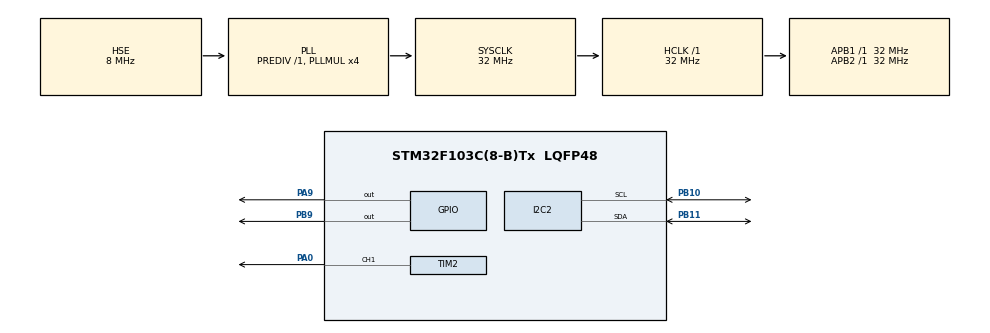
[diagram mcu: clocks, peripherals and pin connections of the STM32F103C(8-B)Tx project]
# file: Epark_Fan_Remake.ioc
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Mcu.Family=STM32F1
Mcu.Name=STM32F103C(8-B)Tx
Mcu.Package=LQFP48
NVIC.PriorityGroup=NVIC_PRIORITYGROUP_4
NVIC.TIM2_IRQn=true\:0\:0\:false\:false\:true\:true\:true\:true
PA0-WKUP.Signal=S_TIM2_CH1_ETR
PA13.Mode=Serial_Wire
PA13.Signal=SYS_JTMS-SWDIO
PA14.Mode=Serial_Wire
PA14.Signal=SYS_JTCK-SWCLK
PA9.Signal=GPIO_Output
PB10.Mode=I2C
PB10.Signal=I2C2_SCL
PB11.Mode=I2C
PB11.Signal=I2C2_SDA
PB9.Signal=GPIO_Output
PC14-OSC32_IN.Mode=LSE-External-Oscillator
PC14-OSC32_IN.Signal=RCC_OSC32_IN
PC15-OSC32_OUT.Mode=LSE-External-Oscillator
PC15-OSC32_OUT.Signal=RCC_OSC32_OUT
PD0-OSC_IN.Mode=HSE-External-Oscillator
PD0-OSC_IN.Signal=RCC_OSC_IN
PD1-OSC_OUT.Mode=HSE-External-Oscillator
PD1-OSC_OUT.Signal=RCC_OSC_OUT
ProjectManager.HeapSize=0x200
ProjectManager.StackSize=0x400
ProjectManager.TargetToolchain=MDK-ARM V5.32
RCC.AHBFreq_Value=32000000
RCC.APB1Freq_Value=32000000
RCC.APB1TimFreq_Value=32000000
RCC.APB2Freq_Value=32000000
RCC.APB2TimFreq_Value=32000000
RCC.HCLKFreq_Value=32000000
RCC.PLLMUL=RCC_PLL_MUL4
RCC.PLLSourceVirtual=RCC_PLLSOURCE_HSE
RCC.RTCClockSelection=RCC_RTCCLKSOURCE_LSE
RCC.SYSCLKFreq_VALUE=32000000
RCC.SYSCLKSource=RCC_SYSCLKSOURCE_PLLCLK
RCC.USBFreq_Value=32000000
RTC.Date=4
RTC.Hours=23
RTC.Minutes=38
RTC.Month=RTC_MONTH_APRIL
RTC.Year=23
SH.S_TIM2_CH1_ETR.0=TIM2_CH1,PWM Generation1 CH1
TIM2.Channel-PWM\ Generation1\ CH1=TIM_CHANNEL_1
TIM2.Period=256
TIM2.Prescaler=32-1
VP_RTC_No_RTC_Output.Mode=RTC_OUT_NO
VP_RTC_VS_RTC_Activate.Mode=RTC_Enabled
VP_RTC_VS_RTC_Calendar.Mode=RTC_Calendar
VP_TIM2_VS_ClockSourceINT.Mode=Internal
board=custom

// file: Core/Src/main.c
/* USER CODE BEGIN Header */
/**
  ******************************************************************************
  * @file           : main.c
  * @brief          : Main program body
  ******************************************************************************
  * @attention
  *
  * Copyright (c) 2023 STMicroelectronics.
  * All rights reserved.
  *
  * This software is licensed under terms that can be found in the LICENSE file
  * in the root directory of this software component.
  * If no LICENSE file comes with this software, it is provided AS-IS.
  *
  ******************************************************************************
  */
/* USER CODE END Header */
#include "main.h"
#include "i2c.h"
#include "rtc.h"
#include "tim.h"
#include "gpio.h"

/* USER CODE BEGIN Includes */
#include "oled.h"
#include "DHT11.h"
#include "gif.h"
/* USER CODE END Includes */

/* USER CODE BEGIN PM */
RTC_DateTypeDef GetData;  //»񈡈Նڽṹ�?

RTC_TimeTypeDef GetTime;   //»񈡊±¼佡¹¹�?
/* USER CODE END PM */

void SystemClock_Config(void);

/* USER CODE BEGIN 0 */
void RTC_display()				//RTCʱ¼䏔ʾº¯�?
{
	  /* Get the RTC current Time */
	  HAL_RTC_GetTime(&hrtc, &GetTime, RTC_FORMAT_BIN);
    /* Get the RTC current Date */
    HAL_RTC_GetDate(&hrtc, &GetData, RTC_FORMAT_BIN);

		/* Display date Format : yy/mm/dd */
		OLED_ShowNum(0,0,2000+GetData.Year,4,16);			//Ī
		OLED_ShowStr(35,30,".",2);
		OLED_ShowNum(45,0,GetData.Month,2,16);				//Ԃ
		OLED_ShowStr(60,30,".",2);
		OLED_ShowNum(70,0,GetData.Date,2,16);					//ȕ

    /* Display time Format : hh:mm:ss */
		OLED_ShowNum(0,2,GetTime.Hours,2,16);					//ʱ
		OLED_ShowStr(20,2,":",2);
		OLED_ShowNum(30,2,GetTime.Minutes,2,16);			//·֍
		OLED_ShowStr(47,2,":",2);
		OLED_ShowNum(58,2,GetTime.Seconds,2,16);			//ë
}
/* USER CODE END 0 */

int main(void)
{
  /* USER CODE BEGIN 1 */
	OLED_ShowStr(81,0,"OctoFan!",1);
	HAL_TIM_PWM_Start(&htim2, TIM_CHANNEL_1);
  __HAL_TIM_SetCompare(&htim2, TIM_CHANNEL_1, 128);
  /* USER CODE END 1 */

  /* MCU Configuration--------------------------------------------------------*/

  /* Reset of all peripherals, Initializes the Flash interface and the Systick. */
  HAL_Init();

  /* Configure the system clock */
  SystemClock_Config();

  /* Initialize all configured peripherals */
  MX_GPIO_Init();
  MX_I2C2_Init();
  MX_RTC_Init();
  MX_TIM2_Init();
  /* USER CODE BEGIN 2 */
	OLED_Init();
	OLED_CLS();

	HAL_Delay(1000);
  /* USER CODE END 2 */

  /* Infinite loop */
  while (1)
  {

    /* USER CODE BEGIN 3 */

		//RTC_display();
		OLED_ShowStr(81,0,"OctoFan!",1);
		DHT11();
		//OLED_DrawGIF(75,2,127,8,36,370,BMP2);			//̫¿Ոˡª¡ªϔʾ¶¯̬ͼƬ(±ʕߍµÀÁÁˣ¬ȡģʵԚ̫·³Áˣ¬ȧ¹û֮λӐźÁ¿ȡģµĈ󟧫α±ظ�?)
		OLED_DrawGIF(75,1,127,7,2,370,BMP3);
		//OLED_DrawBMP(76,2,128,7,BMP4);
  }
  /* USER CODE END 3 */
}

void SystemClock_Config(void)
{
  RCC_OscInitTypeDef RCC_OscInitStruct = {0};
  RCC_ClkInitTypeDef RCC_ClkInitStruct = {0};
  RCC_PeriphCLKInitTypeDef PeriphClkInit = {0};

  /** Initializes the RCC Oscillators according to the specified parameters
  * in the RCC_OscInitTypeDef structure.
  */
  RCC_OscInitStruct.OscillatorType = RCC_OSCILLATORTYPE_HSE|RCC_OSCILLATORTYPE_LSE;
  RCC_OscInitStruct.HSEState = RCC_HSE_ON;
  RCC_OscInitStruct.HSEPredivValue = RCC_HSE_PREDIV_DIV1;
  RCC_OscInitStruct.LSEState = RCC_LSE_ON;
  RCC_OscInitStruct.HSIState = RCC_HSI_ON;
  RCC_OscInitStruct.PLL.PLLState = RCC_PLL_ON;
  RCC_OscInitStruct.PLL.PLLSource = RCC_PLLSOURCE_HSE;
  RCC_OscInitStruct.PLL.PLLMUL = RCC_PLL_MUL4;
  if (HAL_RCC_OscConfig(&RCC_OscInitStruct) != HAL_OK)
  {
    Error_Handler();
  }

  /** Initializes the CPU, AHB and APB buses clocks
  */
  RCC_ClkInitStruct.ClockType = RCC_CLOCKTYPE_HCLK|RCC_CLOCKTYPE_SYSCLK
                              |RCC_CLOCKTYPE_PCLK1|RCC_CLOCKTYPE_PCLK2;
  RCC_ClkInitStruct.SYSCLKSource = RCC_SYSCLKSOURCE_PLLCLK;
  RCC_ClkInitStruct.AHBCLKDivider = RCC_SYSCLK_DIV1;
  RCC_ClkInitStruct.APB1CLKDivider = RCC_HCLK_DIV1;
  RCC_ClkInitStruct.APB2CLKDivider = RCC_HCLK_DIV1;

  if (HAL_RCC_ClockConfig(&RCC_ClkInitStruct, FLASH_LATENCY_1) != HAL_OK)
  {
    Error_Handler();
  }
  PeriphClkInit.PeriphClockSelection = RCC_PERIPHCLK_RTC;
  PeriphClkInit.RTCClockSelection = RCC_RTCCLKSOURCE_LSE;
  if (HAL_RCCEx_PeriphCLKConfig(&PeriphClkInit) != HAL_OK)
  {
    Error_Handler();
  }
}

void Error_Handler(void)
{
  __disable_irq();
  while (1)
  {
  }
}
